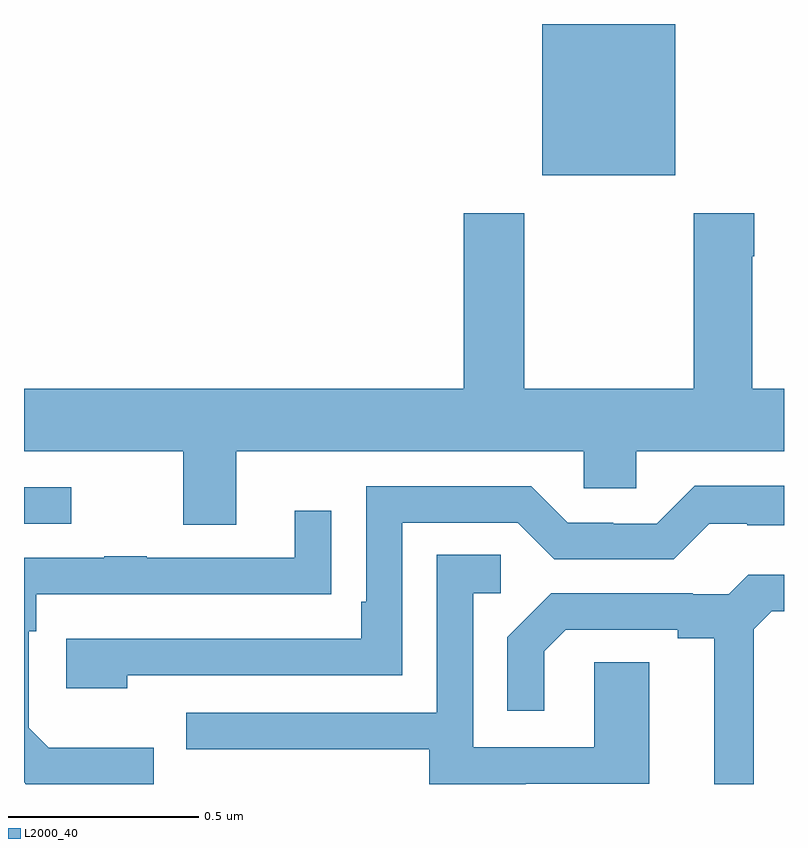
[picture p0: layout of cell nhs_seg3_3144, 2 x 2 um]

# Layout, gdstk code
import gdstk
lib = gdstk.Library(unit=1e-6, precision=1e-09)
def R(c, l, rs):  # rectangles x0, y0, x1, y1
    for r in rs: c.add(gdstk.rectangle(r[:2], r[2:], *l))
def P(c, l, *ps):  # polygons
    for p in ps: c.add(gdstk.Polygon(p, *l))
L2000_40 = (2000, 40)

nhs_seg3_3144 = lib.new_cell('nhs_seg3_3144')
R(nhs_seg3_3144, L2000_40, [(150,674.085,150.124,674.181), (151.364,675.002,151.714,675.4)])
P(nhs_seg3_3144, L2000_40, [(150.559,674.276),(151.473,674.276),(151.473,674.178),(151.611,674.178),(151.611,674.276),(152,674.276),(152,674.44),(151.917,674.44),(151.917,674.789),(151.922,674.789),(151.922,674.902),(151.762,674.902),(151.762,674.44),(151.317,674.44),(151.317,674.902),(151.157,674.902),(151.157,674.44),(150,674.44),(150,674.276),(150.419,674.276),(150.419,674.082),(150.559,674.082)],
  [(150.272,673.686),(150.996,673.686),(150.996,674.088),(151.299,674.088),(151.395,673.992),(151.71,673.992),(151.803,674.085),(151.903,674.085),(151.903,674.081),(152,674.081),(152,674.185),(151.765,674.185),(151.665,674.085),(151.55,674.085),(151.55,674.088),(151.431,674.088),(151.335,674.184),(150.9,674.184),(150.9,673.879),(150.887,673.879),(150.887,673.782),(150.111,673.782),(150.111,673.652),(150.272,673.652)],
  [(150.342,673.495),(150.065,673.495),(150.012,673.548),(150.012,673.802),(150.032,673.802),(150.032,673.899),(150.707,673.899),(150.707,673.9),(150.809,673.9),(150.809,674.119),(150.713,674.119),(150.713,673.995),(150.323,673.995),(150.323,674),(150.211,674),(150.211,673.995),(150,673.995),(150,673.404),(150.004,673.4),(150.342,673.4)],
  [(151.321,673.401),(151.645,673.401),(151.645,673.721),(151.5,673.721),(151.5,673.497),(151.182,673.497),(151.182,673.902),(151.255,673.902),(151.255,674.003),(151.086,674.003),(151.086,673.587),(150.427,673.587),(150.427,673.491),(151.067,673.491),(151.067,673.4),(151.321,673.4)],
  [(151.921,673.807),(151.968,673.854),(152,673.854),(152,673.951),(151.906,673.951),(151.854,673.899),(151.76,673.899),(151.76,673.902),(151.388,673.902),(151.272,673.786),(151.272,673.593),(151.369,673.593),(151.369,673.749),(151.426,673.806),(151.721,673.806),(151.721,673.784),(151.817,673.784),(151.817,673.4),(151.921,673.4)])

lib.write_gds('nhs_seg3_3144.gds')
